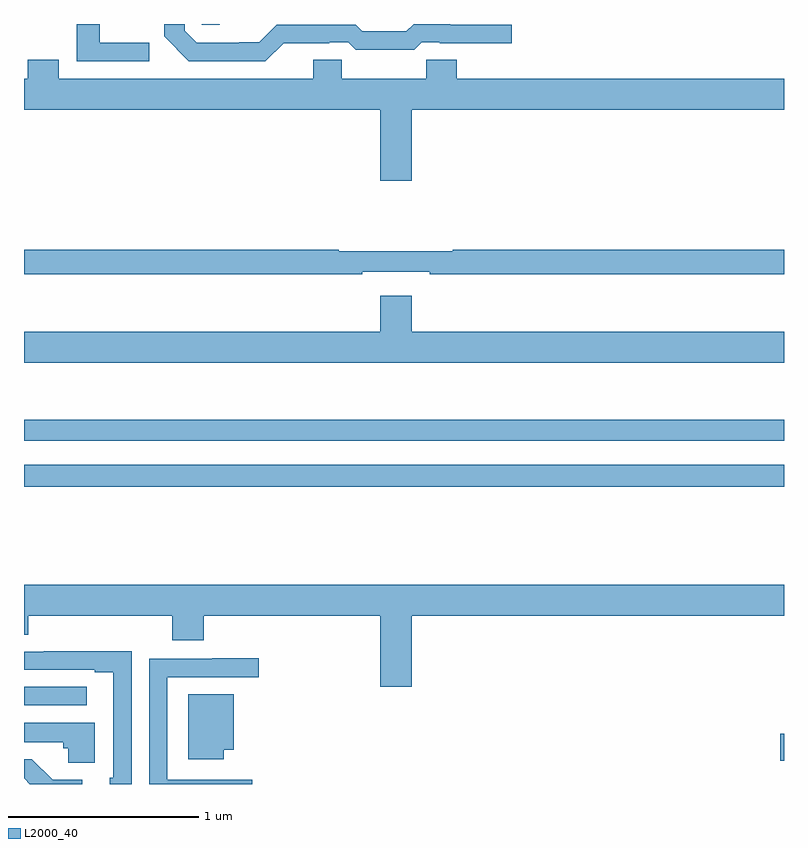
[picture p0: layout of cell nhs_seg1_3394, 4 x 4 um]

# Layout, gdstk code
import gdstk
lib = gdstk.Library(unit=1e-6, precision=1e-09)
def R(c, l, rs):  # rectangles x0, y0, x1, y1
    for r in rs: c.add(gdstk.rectangle(r[:2], r[2:], *l))
def P(c, l, *ps):  # polygons
    for p in ps: c.add(gdstk.Polygon(p, *l))
L2000_40 = (2000, 40)

nhs_seg1_3394 = lib.new_cell('nhs_seg1_3394')
R(nhs_seg1_3394, L2000_40, [(298.98,532.321,299,532.463), (295,532.614,295.33,532.71), (295,533.764,299,533.88), (295,534.006,299,534.115), (295.935,536.196,296.031,536.199)])
P(nhs_seg1_3394, L2000_40, [(296.366,536.099),(296.606,536.099),(296.606,536.103),(296.706,536.103),(296.746,536.064),(297.053,536.064),(297.093,536.103),(297.187,536.103),(297.187,536.099),(297.568,536.099),(297.568,536.196),(297.244,536.196),(297.244,536.199),(297.051,536.199),(297.012,536.16),(296.781,536.16),(296.745,536.196),(296.331,536.196),(296.237,536.102),(296.132,536.102),(296.132,536.1),(295.908,536.1),(295.845,536.163),(295.845,536.199),(295.738,536.199),(295.738,536.135),(295.868,536.004),(296.271,536.004)],
  [(295.66,536.101),(295.399,536.101),(295.399,536.197),(295.386,536.197),(295.386,536.199),(295.278,536.199),(295.278,536.004),(295.66,536.004)],
  [(297.04,535.748),(299,535.748),(299,535.912),(297.278,535.912),(297.278,536.01),(297.118,536.01),(297.118,535.912),(296.673,535.912),(296.673,536.01),(296.522,536.01),(296.522,535.912),(295.183,535.912),(295.183,536.011),(295.019,536.011),(295.019,535.912),(295,535.912),(295,535.748),(296.876,535.748),(296.876,535.374),(297.04,535.374)],
  [(296.78,534.894),(297.136,534.894),(297.136,534.882),(299,534.882),(299,535.01),(297.256,535.01),(297.256,535.003),(296.656,535.003),(296.656,535.01),(295,535.01),(295,534.882),(296.78,534.882)],
  [(299,534.58),(297.04,534.58),(297.04,534.769),(296.876,534.769),(296.876,534.58),(295,534.58),(295,534.416),(299,534.416)],
  [(297.04,533.084),(299,533.084),(299,533.248),(295,533.248),(295,532.985),(295.022,532.985),(295.022,533.084),(295.781,533.084),(295.781,532.956),(295.946,532.956),(295.946,533.084),(296.876,533.084),(296.876,532.71),(297.04,532.71)],
  [(295.566,532.898),(295.105,532.898),(295.105,532.896),(295,532.896),(295,532.8),(295.373,532.8),(295.373,532.788),(295.47,532.788),(295.47,532.233),(295.451,532.233),(295.451,532.199),(295.566,532.199)],
  [(296.2,532.221),(295.755,532.221),(295.755,532.761),(296.236,532.761),(296.236,532.861),(295.991,532.861),(295.991,532.857),(295.659,532.857),(295.659,532.199),(296.2,532.199)],
  [(296.051,532.379),(296.104,532.379),(296.104,532.672),(295.865,532.672),(295.865,532.328),(296.051,532.328)],
  [(295.372,532.522),(295,532.522),(295,532.418),(295.207,532.418),(295.207,532.386),(295.232,532.386),(295.232,532.31),(295.372,532.31)],
  [(295.306,532.221),(295.15,532.221),(295.042,532.329),(295,532.329),(295,532.229),(295.03,532.199),(295.306,532.199)])

lib.write_gds('nhs_seg1_3394.gds')
